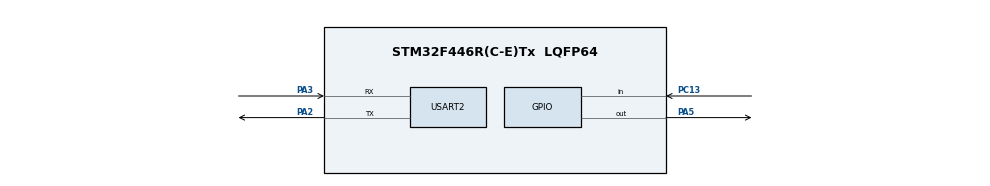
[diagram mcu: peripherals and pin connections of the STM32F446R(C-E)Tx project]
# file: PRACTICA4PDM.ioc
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Mcu.Family=STM32F4
Mcu.Name=STM32F446R(C-E)Tx
Mcu.Package=LQFP64
NVIC.PriorityGroup=NVIC_PRIORITYGROUP_4
PA2.Mode=Asynchronous
PA2.Signal=USART2_TX
PA3.Mode=Asynchronous
PA3.Signal=USART2_RX
PA5.Signal=GPIO_Output
PC13.Signal=GPIO_Input
ProjectManager.HeapSize=0x200
ProjectManager.StackSize=0x400
ProjectManager.TargetToolchain=STM32CubeIDE
RCC.CortexFreq_Value=16000000
RCC.USBFreq_Value=96000000
RCC.VCOOutputFreq_Value=192000000
USART2.VirtualMode=VM_ASYNC
board=custom

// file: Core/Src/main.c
/* USER CODE BEGIN Header */
/**
  ******************************************************************************
  * @file           : main.c
  * @brief          : Main program body
  ******************************************************************************
  * @attention
  *
  * Copyright (c) 2026 STMicroelectronics.
  * All rights reserved.
  *
  * This software is licensed under terms that can be found in the LICENSE file
  * in the root directory of this software component.
  * If no LICENSE file comes with this software, it is provided AS-IS.
  *
  ******************************************************************************
  */
/* USER CODE END Header */
#include "main.h"
#include "usart.h"
#include "gpio.h"

/* USER CODE BEGIN Includes */
#include <stdint.h>
#include "API_delay.h"
#include "API_debounce.h"
/* USER CODE END Includes */

/* USER CODE BEGIN PD */
#define SEMIPERIODOS 2
typedef enum tagTimes {
	_500Miliseconds = 500U,
	_100Miliseconds = 100U,
	_1000Miliseconds = 1000U
} Times;

/* USER CODE END PD */

/* USER CODE BEGIN PV */
delay_t blinkDelay;
uint32_t tiempos[] = {500, 100};
uint8_t indiceTiempo = 0;
/* USER CODE END PV */

void SystemClock_Config(void);

int main(void)
{

  /* MCU Configuration--------------------------------------------------------*/

  /* Reset of all peripherals, Initializes the Flash interface and the Systick. */
  HAL_Init();

  /* Configure the system clock */
  SystemClock_Config();

  /* Initialize all configured peripherals */
  MX_GPIO_Init();
  MX_USART2_UART_Init();
  /* USER CODE BEGIN 2 */
  debounceFSM_init();
  delayInit(&blinkDelay, tiempos[indiceTiempo]);
  /* USER CODE END 2 */

  /* Infinite loop */
  /* USER CODE BEGIN WHILE */
  while (1)
  {
	  // 1. Actualizar la máquina de estados del botón constantemente
	        debounceFSM_update();

	        // 2. Revisar si la FSM detectó que se presionó el botón
	        if (readKey()) {
	            indiceTiempo++;
	            if (indiceTiempo >= 2) {
	                indiceTiempo = 0; // Reiniciamos el índice si se pasa de las opciones
	            }
	            // Cambiamos el tiempo de parpadeo según el arreglo
	            delayWrite(&blinkDelay, tiempos[indiceTiempo]);
	        }

	        // 3. Revisar si ya pasó el tiempo para cambiar el estado del LED
	        if (delayRead(&blinkDelay)) {
	            HAL_GPIO_TogglePin(LD2_GPIO_Port, LD2_Pin);
	        }
    /* USER CODE END WHILE */

  }
}

void SystemClock_Config(void)
{
  RCC_OscInitTypeDef RCC_OscInitStruct = {0};
  RCC_ClkInitTypeDef RCC_ClkInitStruct = {0};

  /** Configure the main internal regulator output voltage
  */
  __HAL_RCC_PWR_CLK_ENABLE();
  __HAL_PWR_VOLTAGESCALING_CONFIG(PWR_REGULATOR_VOLTAGE_SCALE3);

  /** Initializes the RCC Oscillators according to the specified parameters
  * in the RCC_OscInitTypeDef structure.
  */
  RCC_OscInitStruct.OscillatorType = RCC_OSCILLATORTYPE_HSI;
  RCC_OscInitStruct.HSIState = RCC_HSI_ON;
  RCC_OscInitStruct.HSICalibrationValue = RCC_HSICALIBRATION_DEFAULT;
  RCC_OscInitStruct.PLL.PLLState = RCC_PLL_NONE;
  if (HAL_RCC_OscConfig(&RCC_OscInitStruct) != HAL_OK)
  {
    Error_Handler();
  }

  /** Initializes the CPU, AHB and APB buses clocks
  */
  RCC_ClkInitStruct.ClockType = RCC_CLOCKTYPE_HCLK|RCC_CLOCKTYPE_SYSCLK
                              |RCC_CLOCKTYPE_PCLK1|RCC_CLOCKTYPE_PCLK2;
  RCC_ClkInitStruct.SYSCLKSource = RCC_SYSCLKSOURCE_HSI;
  RCC_ClkInitStruct.AHBCLKDivider = RCC_SYSCLK_DIV1;
  RCC_ClkInitStruct.APB1CLKDivider = RCC_HCLK_DIV1;
  RCC_ClkInitStruct.APB2CLKDivider = RCC_HCLK_DIV1;

  if (HAL_RCC_ClockConfig(&RCC_ClkInitStruct, FLASH_LATENCY_0) != HAL_OK)
  {
    Error_Handler();
  }
}

/* USER CODE BEGIN 4 */
void HAL_GPIO_EXTI_Callback(uint16_t GPIO_Pin)
{
}
/* USER CODE END 4 */

void Error_Handler(void)
{
  __disable_irq();
  while (1)
  {
  }
}
